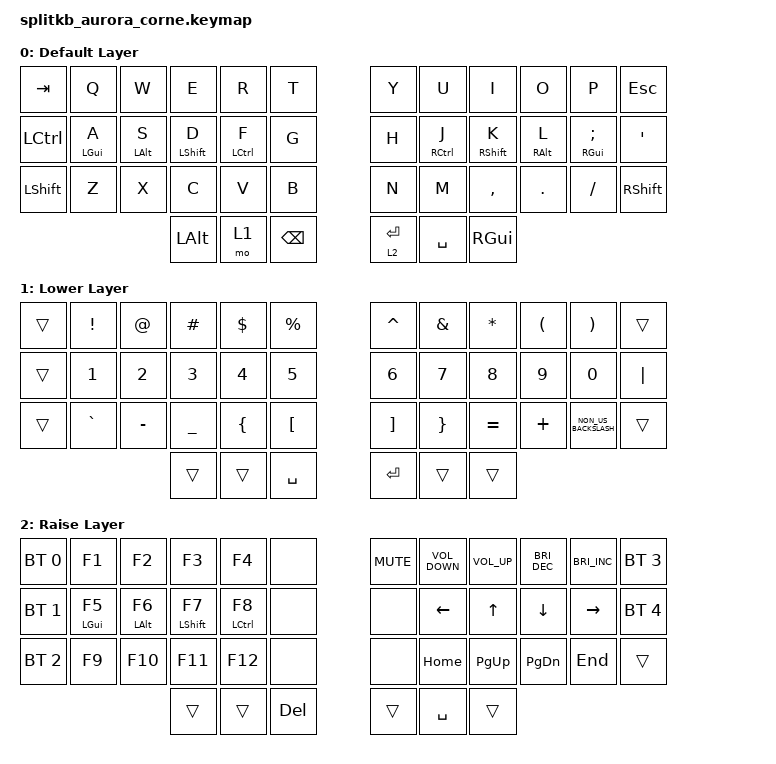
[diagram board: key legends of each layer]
/*
 * Copyright (c) 2020 The ZMK Contributors
 *
 * SPDX-License-Identifier: MIT
 */

#include <behaviors.dtsi>
#include <dt-bindings/zmk/bt.h>
#include <dt-bindings/zmk/keys.h>

/ {
    behaviors {
        hml: hml {
            compatible = "zmk,behavior-hold-tap";
            label = "HML";
            bindings = <&kp>, <&kp>;

            #binding-cells = <2>;
            tapping-term-ms = <280>;
            quick-tap-ms = <175>;
            require-prior-idle-ms = <150>;
            flavor = "balanced";
            hold-trigger-on-release;
            hold-trigger-key-positions = <6 18 30 31 19 7 8 9 20 21 32 33 9 10 21 22 33 34>;
        };

        hmr: hmr {
            compatible = "zmk,behavior-hold-tap";
            label = "HMR";
            bindings = <&kp>, <&kp>;

            #binding-cells = <2>;
            tapping-term-ms = <280>;
            quick-tap-ms = <175>;
            require-prior-idle-ms = <150>;
            flavor = "balanced";
            hold-trigger-on-release;
            hold-trigger-key-positions = <1 2 3 4 5 13 14 15 16 17 25 26 27 28 29>;
        };
    };

    keymap {
        compatible = "zmk,keymap";

        default_layer {
            display-name = "Default Layer";

            // -----------------------------------------------------------------------------------------
            // |  TAB |  Q  |  W  |  E  |  R  |  T  |   |  Y  |  U   |  I  |  O  |  P  | BSPC |
            // | CTRL |  A  |  S  |  D  |  F  |  G  |   |  H  |  J   |  K  |  L  |  ;  |  '   |
            // | SHFT |  Z  |  X  |  C  |  V  |  B  |   |  N  |  M   |  ,  |  .  |  /  | ESC  |
            //                    | GUI | LWR | SPC |   | ENT | RSE  | ALT |

            bindings = <
&kp TAB    &kp Q            &kp W            &kp E              &kp R                &kp T            &kp Y        &kp U                 &kp I               &kp O             &kp P                &kp ESC
&kp LCTRL  &hml LEFT_GUI A  &hml LEFT_ALT S  &hml LEFT_SHIFT D  &hml LEFT_CONTROL F  &kp G            &kp H        &hmr RIGHT_CONTROL J  &hmr RIGHT_SHIFT K  &hmr RIGHT_ALT L  &hmr RIGHT_GUI SEMI  &kp SQT
&kp LSHFT  &kp Z            &kp X            &kp C              &kp V                &kp B            &kp N        &kp M                 &kp COMMA           &kp DOT           &kp FSLH             &kp RIGHT_SHIFT
                                             &kp LEFT_ALT       &mo 1                &kp BACKSPACE    &lt 2 ENTER  &kp SPACE             &kp RIGHT_GUI
            >;
        };

        lower_layer {
            display-name = "Lower Layer";

            // -----------------------------------------------------------------------------------------
            // |  TAB |  1  |  2  |  3  |  4  |  5  |   |  6  |  7  |  8  |  9  |  0  | BSPC |
            // | BTCLR| BT1 | BT2 | BT3 | BT4 | BT5 |   | LFT | DWN |  UP | RGT |     |      |
            // | SHFT |     |     |     |     |     |   |     |     |     |     |     |      |
            //                    | GUI |     | SPC |   | ENT |     | ALT |

            bindings = <
&trans  &kp EXCLAMATION  &kp AT_SIGN   &kp HASH        &kp DOLLAR      &kp PERCENT         &kp CARET          &kp AMPERSAND    &kp ASTERISK  &kp LEFT_PARENTHESIS  &kp RIGHT_PARENTHESIS  &trans
&trans  &kp NUMBER_1     &kp NUMBER_2  &kp NUMBER_3    &kp NUMBER_4    &kp N5              &kp NUMBER_6       &kp N7           &kp N8        &kp N9                &kp N0                 &kp PIPE
&trans  &kp GRAVE        &kp MINUS     &kp UNDERSCORE  &kp LEFT_BRACE  &kp LEFT_BRACKET    &kp RIGHT_BRACKET  &kp RIGHT_BRACE  &kp EQUAL     &kp PLUS              &kp NON_US_BACKSLASH   &trans
                                       &trans          &trans          &kp SPACE           &kp ENTER          &trans           &trans
            >;
        };

        raise_layer {
            display-name = "Raise Layer";

            // -----------------------------------------------------------------------------------------
            // |  TAB |  !  |  @  |  #  |  $  |  %  |   |  ^  |  &  |  *  |  (  |  )  | BSPC |
            // | CTRL |     |     |     |     |     |   |  -  |  =  |  [  |  ]  |  \  |  `   |
            // | SHFT |     |     |     |     |     |   |  _  |  +  |  {  |  }  | "|" |  ~   |
            //                    | GUI |     | SPC |   | ENT |     | ALT |

            bindings = <
&bt BT_SEL 0  &kp F1           &kp F2           &kp F3             &kp F4               &none         &kp C_MUTE  &kp C_VOLUME_DOWN  &kp C_VOLUME_UP  &kp C_BRIGHTNESS_DEC  &kp C_BRIGHTNESS_INC  &bt BT_SEL 3
&bt BT_SEL 1  &mt LEFT_GUI F5  &mt LEFT_ALT F6  &mt LEFT_SHIFT F7  &mt LEFT_CONTROL F8  &none         &none       &kp LEFT           &kp UP           &kp DOWN              &kp RIGHT             &bt BT_SEL 4
&bt BT_SEL 2  &kp F9           &kp F10          &kp F11            &kp F12              &none         &none       &kp HOME           &kp PAGE_UP      &kp PAGE_DOWN         &kp END               &trans
                                                &trans             &trans               &kp DELETE    &trans      &kp SPACE          &trans
            >;
        };
    };
};
